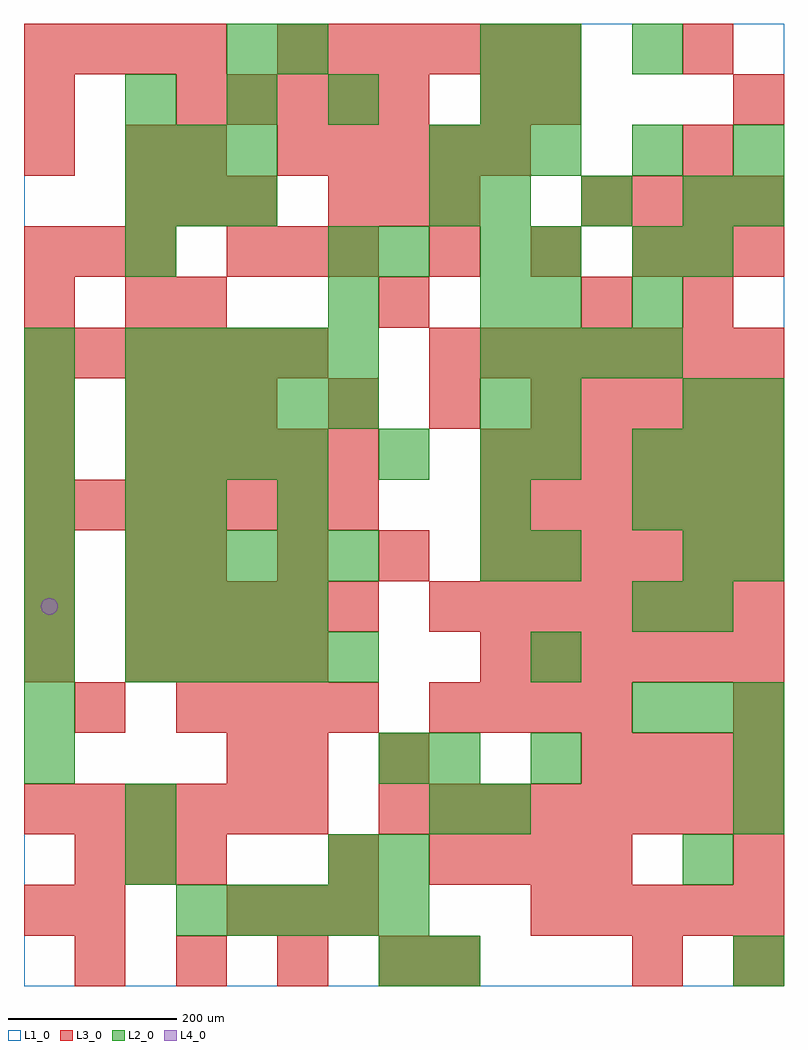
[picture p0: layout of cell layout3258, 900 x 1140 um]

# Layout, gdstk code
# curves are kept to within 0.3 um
import gdstk
lib = gdstk.Library(unit=1e-6, precision=1e-09)
def R(c, l, rs):  # rectangles x0, y0, x1, y1
    for r in rs: c.add(gdstk.rectangle(r[:2], r[2:], *l))
def A(c, l, x, y, w, h, nx, ny, dx, dy):  # array of equal rectangles
    R(c, l, [(x+i*dx, y+j*dy, x+i*dx+w, y+j*dy+h) for i in range(nx) for j in range(ny)])
def P(c, l, *ps):  # polygons
    for p in ps: c.add(gdstk.Polygon(p, *l))
L1_0 = (1, 0)
L2_0 = (2, 0)
L3_0 = (3, 0)
L4_0 = (4, 0)

layout3258 = lib.new_cell('layout3258')
R(layout3258, L1_0, [(0,0,900,1140)])
A(layout3258, L2_0, 420, 0, 60, 60, 1, 3, 0, 120)
A(layout3258, L2_0, 180, 60, 60, 60, 5, 1, 60, 0)
A(layout3258, L2_0, 0, 240, 60, 60, 1, 9, 0, 60)
A(layout3258, L2_0, 600, 240, 60, 60, 1, 4, 0, 120)
A(layout3258, L2_0, 720, 300, 60, 60, 3, 2, 60, 240)
A(layout3258, L2_0, 120, 360, 60, 60, 5, 2, 60, 120)
A(layout3258, L2_0, 120, 420, 60, 60, 4, 2, 60, 180)
A(layout3258, L2_0, 540, 480, 60, 60, 1, 4, 0, 60)
A(layout3258, L2_0, 780, 480, 60, 60, 1, 3, 0, 180)
A(layout3258, L2_0, 720, 600, 60, 60, 3, 1, 60, 0)
A(layout3258, L2_0, 120, 660, 60, 60, 5, 2, 60, 60)
A(layout3258, L2_0, 540, 720, 60, 60, 4, 1, 60, 0)
A(layout3258, L2_0, 720, 840, 60, 60, 1, 3, 0, 120)
A(layout3258, L2_0, 120, 900, 60, 60, 3, 2, 60, 60)
A(layout3258, L2_0, 540, 900, 60, 60, 3, 1, 120, 0)
A(layout3258, L2_0, 480, 960, 60, 60, 3, 1, 60, 0)
A(layout3258, L2_0, 120, 1020, 60, 60, 3, 1, 120, 0)
R(layout3258, L2_0, [(480,0,540,60), (840,0,900,60), (120,120,180,180), (360,120,420,180), (780,120,840,180), (120,180,180,240), (480,180,540,240), (540,180,600,240), (840,180,900,240), (480,240,540,300), (840,240,900,300), (720,420,780,480), (780,420,840,480), (840,480,900,540), (120,540,180,600), (180,540,240,600), (300,540,360,600), (420,600,480,660), (600,660,660,720), (840,660,900,720), (360,780,420,840), (540,780,600,840), (600,780,660,840), (720,780,780,840), (120,840,180,900), (360,840,420,900), (420,840,480,900), (540,840,600,900), (600,840,660,900), (480,900,540,960), (840,900,900,960), (840,960,900,1020), (540,1020,600,1080), (600,1020,660,1080), (240,1080,300,1140), (300,1080,360,1140), (540,1080,600,1140), (600,1080,660,1140)])
A(layout3258, L3_0, 60, 0, 60, 60, 4, 1, 120, 0)
A(layout3258, L3_0, 240, 60, 60, 60, 3, 2, 60, 780)
A(layout3258, L3_0, 600, 60, 60, 60, 5, 2, 60, 420)
A(layout3258, L3_0, 60, 120, 60, 60, 3, 1, 60, 0)
A(layout3258, L3_0, 480, 120, 60, 60, 4, 2, 60, 180)
A(layout3258, L3_0, 0, 180, 60, 60, 6, 2, 60, 540)
A(layout3258, L3_0, 420, 180, 60, 60, 8, 1, 60, 0)
A(layout3258, L3_0, 660, 240, 60, 60, 4, 2, 60, 420)
A(layout3258, L3_0, 180, 300, 60, 60, 4, 1, 60, 0)
A(layout3258, L3_0, 0, 360, 60, 60, 1, 3, 0, 60)
A(layout3258, L3_0, 120, 360, 60, 60, 4, 1, 60, 0)
A(layout3258, L3_0, 540, 360, 60, 60, 6, 2, 60, 180)
A(layout3258, L3_0, 120, 420, 60, 60, 5, 2, 60, 180)
A(layout3258, L3_0, 480, 420, 60, 60, 7, 2, 60, 300)
A(layout3258, L3_0, 180, 480, 60, 60, 4, 1, 120, 0)
A(layout3258, L3_0, 0, 540, 60, 60, 7, 1, 60, 0)
A(layout3258, L3_0, 540, 600, 60, 60, 6, 1, 60, 0)
A(layout3258, L3_0, 120, 660, 60, 60, 3, 2, 60, 240)
A(layout3258, L3_0, 360, 660, 60, 60, 3, 1, 120, 0)
A(layout3258, L3_0, 180, 780, 60, 60, 3, 1, 240, 0)
A(layout3258, L3_0, 0, 840, 60, 60, 3, 1, 60, 0)
A(layout3258, L3_0, 480, 840, 60, 60, 3, 1, 120, 0)
A(layout3258, L3_0, 780, 840, 60, 60, 1, 3, 0, 120)
A(layout3258, L3_0, 360, 900, 60, 60, 3, 1, 60, 0)
A(layout3258, L3_0, 660, 900, 60, 60, 4, 1, 60, 0)
A(layout3258, L3_0, 300, 960, 60, 60, 5, 1, 60, 0)
A(layout3258, L3_0, 180, 1020, 60, 60, 5, 1, 60, 0)
A(layout3258, L3_0, 0, 1080, 60, 60, 4, 1, 60, 0)
A(layout3258, L3_0, 300, 1080, 60, 60, 6, 1, 60, 0)
R(layout3258, L3_0, [(480,0,540,60), (720,0,780,60), (840,0,900,60), (0,60,60,120), (60,60,120,120), (360,120,420,180), (840,120,900,180), (240,240,300,300), (300,240,360,300), (420,240,480,300), (60,300,120,360), (840,300,900,360), (120,480,180,540), (0,600,60,660), (0,660,60,720), (0,780,60,840), (120,780,180,840), (780,780,840,840), (840,840,900,900), (0,960,60,1020), (120,960,180,1020), (180,960,240,1020), (0,1020,60,1080), (540,1020,600,1080), (600,1020,660,1080), (840,1020,900,1080)])
P(layout3258, L4_0, [(40,450),(39.239,453.827),(37.071,457.071),(33.827,459.239),(30,460),(26.173,459.239),(22.929,457.071),(20.761,453.827),(20,450),(20.761,446.173),(22.929,442.929),(26.173,440.761),(30,440),(33.827,440.761),(37.071,442.929),(39.239,446.173)])

lib.write_gds('layout3258.gds')
